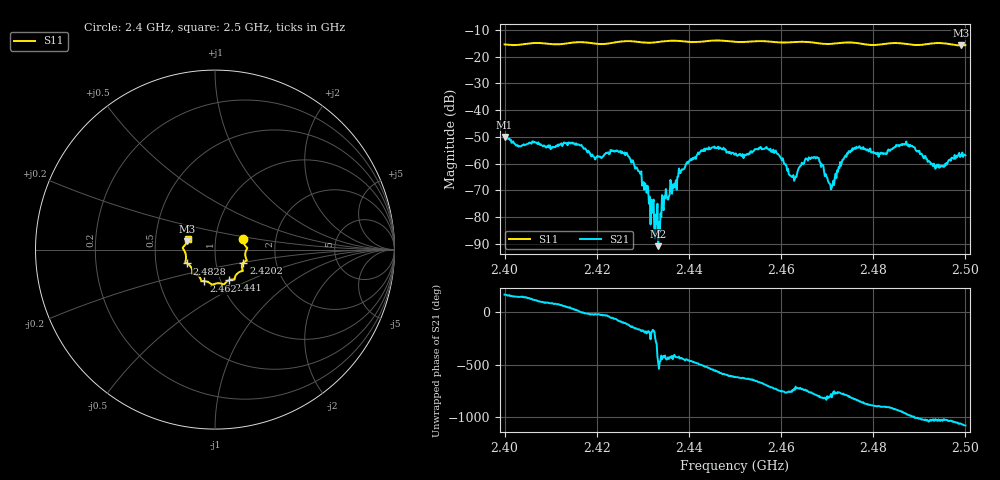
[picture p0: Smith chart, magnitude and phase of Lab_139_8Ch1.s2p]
# Hz S RI R 50
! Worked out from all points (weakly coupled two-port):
!   601 points, 2.4 GHz to 2.5 GHz, reference 50 ohm
!   highest |S21| = -49.98 dB at 2.4 GHz (marker M1); lowest = -90.9 dB at 2.4333 GHz (marker M2)
!   lowest |S11| = -15.8 dB at 2.499 GHz (marker M3), VSWR 1.39, Z = 36.4 + j3.53 ohm
!   |S11| at or under -10 dB: start of sweep to end of sweep
!   S12 and S22 are empty: the file has one direction only
!   S11 on the Smith chart (normalised r, x): 2.4 GHz: 1.36, +0.17; 2.4202 GHz: 1.36, -0.20; 2.441 GHz: 1.10, -0.39; 2.462 GHz: 0.83, -0.30; 2.4828 GHz: 0.72, -0.11; 2.5 GHz: 0.73, +0.09
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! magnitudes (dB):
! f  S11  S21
! 2.4 GHz  -15.4  -50.0
! 2.4167 GHz  -14.6  -53.0
! 2.4202 GHz  -15.2  -57.1
! 2.4268 GHz  -14.2  -57.2
! 2.4333 GHz  -14.5  -90.9
! 2.438 GHz  -14.1  -63.6
! 2.441 GHz  -14.6  -58.2
! 2.4453 GHz  -14.0  -53.9
! 2.45 GHz  -14.4  -56.6
! 2.4572 GHz  -14.3  -54.5
! 2.462 GHz  -14.6  -64.4
! 2.4667 GHz  -14.6  -57.6
! 2.468 GHz  -14.9  -57.9
! 2.471 GHz  -15.2  -68.9
! 2.4733 GHz  -14.8  -58.5
! 2.476 GHz  -14.8  -54.0
! 2.4828 GHz  -15.1  -56.4
! 2.4833 GHz  -15.0  -54.7
! 2.4877 GHz  -15.4  -52.8
! 2.4938 GHz  -14.9  -60.4
! 2.499 GHz  -15.8  -56.7
! 2.5 GHz  -15.7  -56.9
